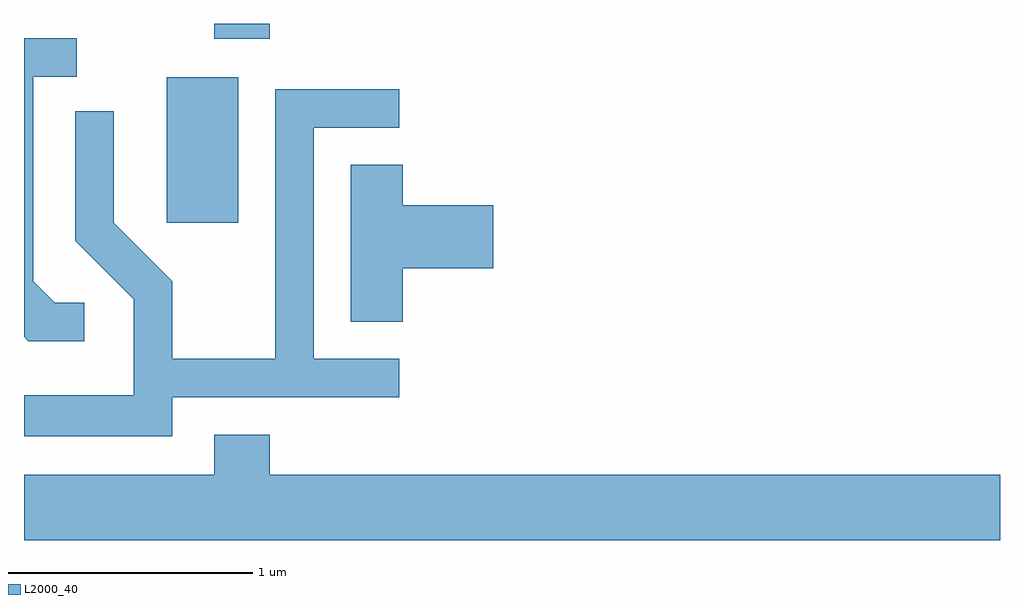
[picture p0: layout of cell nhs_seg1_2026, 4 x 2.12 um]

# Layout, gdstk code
import gdstk
lib = gdstk.Library(unit=1e-6, precision=1e-09)
def R(c, l, rs):  # rectangles x0, y0, x1, y1
    for r in rs: c.add(gdstk.rectangle(r[:2], r[2:], *l))
def P(c, l, *ps):  # polygons
    for p in ps: c.add(gdstk.Polygon(p, *l))
L2000_40 = (2000, 40)

nhs_seg1_2026 = lib.new_cell('nhs_seg1_2026')
R(nhs_seg1_2026, L2000_40, [(248.196,880.896,248.489,881.494), (248.391,881.651,248.619,881.712)])
P(nhs_seg1_2026, L2000_40, [(247.858,880.569),(247.737,880.569),(247.649,880.657),(247.649,881.496),(247.828,881.496),(247.828,881.654),(247.611,881.654),(247.611,880.429),(247.629,880.411),(247.858,880.411)],
  [(248.219,880.181),(249.148,880.181),(249.148,880.339),(248.799,880.339),(248.799,881.286),(249.148,881.286),(249.148,881.444),(248.641,881.444),(248.641,880.339),(248.219,880.339),(248.219,880.657),(247.979,880.897),(247.979,881.353),(247.821,881.353),(247.821,880.824),(248.061,880.584),(248.061,880.189),(247.611,880.189),(247.611,880.021),(248.219,880.021)],
  [(249.164,880.711),(249.534,880.711),(249.534,880.969),(249.164,880.969),(249.164,881.134),(248.951,881.134),(248.951,880.491),(249.164,880.491)],
  [(251.611,879.864),(248.619,879.864),(248.619,880.029),(248.391,880.029),(248.391,879.864),(247.611,879.864),(247.611,879.596),(251.611,879.596)])

lib.write_gds('nhs_seg1_2026.gds')
